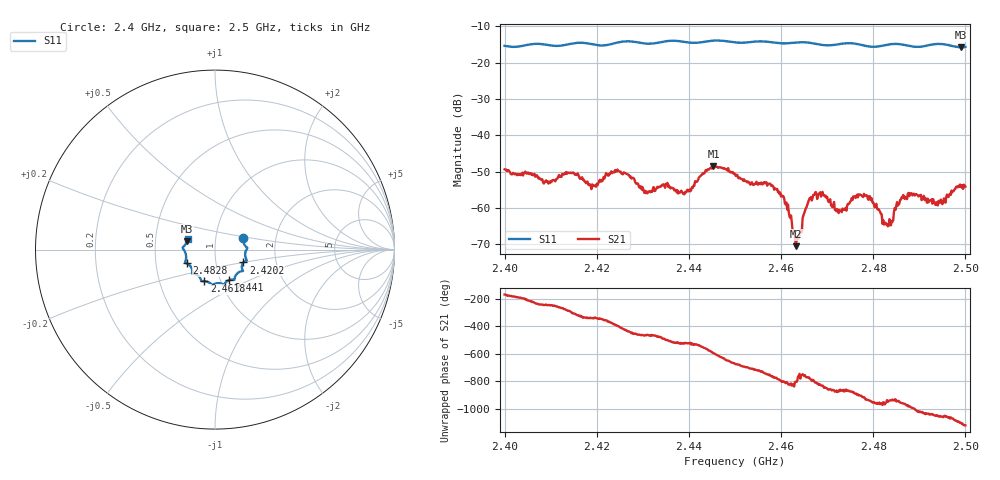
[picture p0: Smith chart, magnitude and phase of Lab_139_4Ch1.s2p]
# Hz S RI R 50
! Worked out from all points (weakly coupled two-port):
!   601 points, 2.4 GHz to 2.5 GHz, reference 50 ohm
!   highest |S21| = -48.46 dB at 2.4453 GHz (marker M1); lowest = -70.6 dB at 2.4632 GHz (marker M2)
!   lowest |S11| = -15.8 dB at 2.499 GHz (marker M3), VSWR 1.39, Z = 36.4 + j3.48 ohm
!   |S11| at or under -10 dB: start of sweep to end of sweep
!   S12 and S22 are empty: the file has one direction only
!   S11 on the Smith chart (normalised r, x): 2.4 GHz: 1.36, +0.18; 2.4202 GHz: 1.36, -0.20; 2.441 GHz: 1.10, -0.39; 2.4618 GHz: 0.84, -0.30; 2.4828 GHz: 0.72, -0.11; 2.5 GHz: 0.73, +0.09
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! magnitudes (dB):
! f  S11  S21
! 2.4 GHz  -15.4  -49.4
! 2.4167 GHz  -14.5  -51.9
! 2.4202 GHz  -15.2  -53.8
! 2.4245 GHz  -14.5  -49.5
! 2.4307 GHz  -14.8  -56.0
! 2.4333 GHz  -14.5  -54.4
! 2.441 GHz  -14.6  -53.9
! 2.4453 GHz  -13.9  -48.5
! 2.45 GHz  -14.4  -50.8
! 2.4578 GHz  -14.4  -53.9
! 2.4618 GHz  -14.6  -62.4
! 2.4632 GHz  -14.5  -70.6
! 2.4667 GHz  -14.6  -58.0
! 2.4688 GHz  -15.1  -56.1
! 2.4727 GHz  -14.9  -60.5
! 2.4782 GHz  -15.4  -56.6
! 2.4828 GHz  -15.1  -64.6
! 2.4833 GHz  -15.0  -65.0
! 2.4865 GHz  -15.1  -56.5
! 2.494 GHz  -14.9  -59.3
! 2.499 GHz  -15.8  -53.8
! 2.5 GHz  -15.7  -54.2
